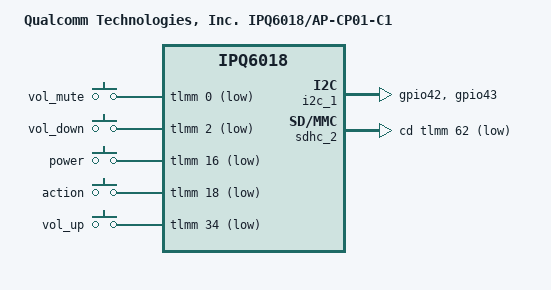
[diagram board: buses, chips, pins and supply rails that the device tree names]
// SPDX-License-Identifier: (GPL-2.0+ OR BSD-3-Clause)
/*
 * IPQ6018 CP01 board device tree source
 *
 * Copyright (c) 2019-2021 The Linux Foundation. All rights reserved.
 */

/dts-v1/;

#include "ipq6018-cp01.dtsi"
#include "ipq6018-cpr-regulator.dtsi"

/ {
	model = "Qualcomm Technologies, Inc. IPQ6018/AP-CP01-C1";
	compatible = "qcom,ipq6018-ap-cp01-c1", "qcom,ipq6018-ap-cp01", "qcom,ipq6018";
};

&tlmm {
	i2c_1_pins: i2c_1_pins {
		mux {
			pins = "gpio42", "gpio43";
			function = "blsp2_i2c";
			drive-strength = <8>;
			bias-pull-down;
		};
	};

	button_pins: button_pins {
		mute_button {
			pins = "gpio0";
			function = "gpio";
			drive-strength = <8>;
			bias-pull-up;
		};
		volume_down {
			pins = "gpio2";
			function = "gpio";
			drive-strength = <8>;
			bias-pull-up;
		};
		mic_pwr {
			pins = "gpio16";
			function = "gpio";
			drive-strength = <8>;
			bias-pull-up;
		};
		home {
			pins = "gpio18";
			function = "gpio";
			drive-strength = <8>;
			bias-pull-up;
		};
		volume_up {
			pins = "gpio34";
			function = "gpio";
			drive-strength = <8>;
			bias-pull-up;
		};
	};

};

&soc {
	gpio_keys {
		vol_mute {
			label = "vol_mute";
			gpios = <&tlmm 0 GPIO_ACTIVE_LOW>;
			linux,input-type = <1>;
			linux,code = <KEY_MUTE>;
			debounce-interval = <15>;
		};

		vol_down {
			label = "vol_down";
			gpios = <&tlmm 2 GPIO_ACTIVE_LOW>;
			linux,input-type = <1>;
			linux,code = <KEY_VOLUMEDOWN>;
			debounce-interval = <15>;
		};

		power {
			label = "power";
			gpios = <&tlmm 16 GPIO_ACTIVE_LOW>;
			linux,input-type = <1>;
			linux,code = <KEY_POWER>;
			debounce-interval = <15>;
		};

		home {
			label = "action";
			gpios = <&tlmm 18 GPIO_ACTIVE_LOW>;
			linux,input-type = <1>;
			linux,code = <KEY_HOME>;
			debounce-interval = <15>;
		};

		vol_up {
			label = "vol_up";
			gpios = <&tlmm 34 GPIO_ACTIVE_LOW>;
			linux,input-type = <1>;
			linux,code = <KEY_VOLUMEUP>;
			debounce-interval = <15>;
		};
	};
};

&i2c_1 {
	pinctrl-0 = <&i2c_1_pins>;
	pinctrl-names = "default";
	status = "ok";
};

&sdhc_2 {
	pinctrl-0 = <&sd_pins>;
	pinctrl-names = "default";
	cd-gpios = <&tlmm 62 1>;
	sd-ldo-gpios = <&tlmm 66 0>;
	vqmmc-supply = <&ipq6018_l2>;
	status = "ok";
};
